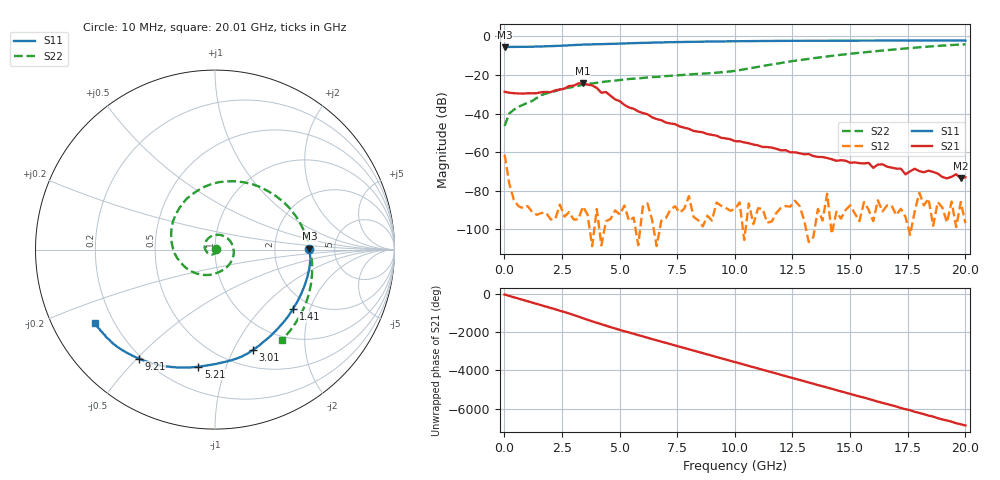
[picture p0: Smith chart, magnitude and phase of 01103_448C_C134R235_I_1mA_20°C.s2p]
!;Filter: kein Filter
!auto
!3/21/2019 9:26:39 AM
!3/21/2019 9:26:51 AM
!SP-Measurements Prober G4
!SP-Measurements Prober G4
!134
!235
!12
!20
!-20
!0.00099996
!1.65
!0.05816927
!0.05816927
# Hz S  RI  R 50
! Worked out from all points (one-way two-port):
!   101 points, 10 MHz to 20.01 GHz, reference 50 ohm
!   highest |S21| = -24.35 dB at 3.41 GHz (marker M1); lowest = -73.7 dB at 19.81 GHz (marker M2)
!   lowest |S11| = -5.6 dB at 10 MHz (marker M3), VSWR 3.22, Z = 161 + j2.11 ohm
!   |S11| at or under -10 dB: nowhere
!   |S22| runs from -46.4 to -4.1 dB; largest |S21 - S12| = 0.061
!   S11 on the Smith chart (normalised r, x): 10 MHz: 3.22, +0.04; 1.41 GHz: 1.64, -1.54; 3.01 GHz: 0.69, -1.20; 5.21 GHz: 0.35, -0.81; 9.21 GHz: 0.19, -0.51; 20.01 GHz: 0.13, -0.28
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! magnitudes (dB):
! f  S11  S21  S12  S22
! 10 MHz  -5.6  -28.7  -61.4  -46.4
! 210 MHz  -5.4  -29.2  -76.2  -40.0
! 410 MHz  -5.4  -29.5  -84.8  -38.0
! 1.41 GHz  -5.3  -29.4  -92.6  -31.9
! 3.01 GHz  -4.5  -25.5  -95.1  -26.1
! 3.41 GHz  -4.2  -24.4  -88.3  -25.1
! 4.41 GHz  -3.9  -28.8  -95.9  -23.4
! 5.21 GHz  -3.6  -35.5  -87.7  -22.3
! 6.81 GHz  -3.1  -43.5  -95.7  -20.8
! 9.21 GHz  -2.6  -51.5  -86.2  -18.8
! 10.01 GHz  -2.5  -54.4  -89.5  -17.9
! 13.41 GHz  -2.2  -62.1  -104.1  -11.3
! 15.81 GHz  -2.2  -65.6  -89.9  -8.0
! 16.01 GHz  -2.2  -68.2  -95.9  -7.8
! 16.81 GHz  -2.1  -68.1  -87.8  -6.9
! 17.21 GHz  -2.1  -68.7  -89.4  -6.4
! 17.41 GHz  -2.1  -71.5  -93.6  -6.2
! 17.81 GHz  -2.1  -68.6  -90.9  -5.8
! 19.21 GHz  -2.1  -73.7  -96.6  -4.6
! 19.61 GHz  -2.1  -71.5  -98.9  -4.3
! 19.81 GHz  -2.1  -73.7  -85.9  -4.2
! 20.01 GHz  -2.1  -73.1  -96.9  -4.1
